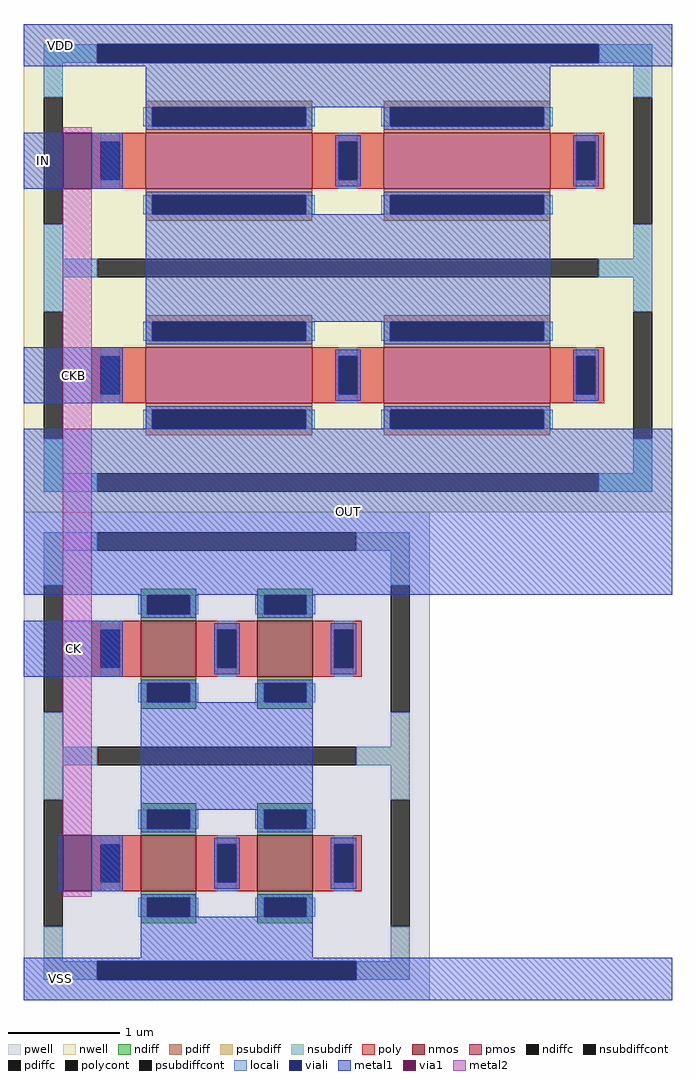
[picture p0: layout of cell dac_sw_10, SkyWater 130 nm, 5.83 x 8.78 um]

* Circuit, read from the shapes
.subckt dac_sw_10 VDD IN CKB CK VSS OUT
XM1 n1 IN VSS VSS sky130_fd_pr__nfet_01v8 w=0.5 l=0.5 m=2
XM2 OUT CK n1 VSS sky130_fd_pr__nfet_01v8 w=0.5 l=0.5 m=2
XM3 n2 CKB OUT VDD sky130_fd_pr__pfet_01v8 w=1.5 l=0.5 m=2
XM4 VDD IN n2 VDD sky130_fd_pr__pfet_01v8 w=1.5 l=0.5 m=2
.ends

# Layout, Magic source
magic
tech sky130A
magscale 1 2
<< viali >>
rect 238 1527 1140 1561
rect 238 -123 704 -89
<< metal1 >>
rect 106 1561 1272 1597
rect 106 1527 238 1561
rect 1140 1527 1272 1561
rect 106 1521 1272 1527
rect 325 1447 1053 1521
rect 106 1301 176 1401
rect 228 1301 284 1401
rect 325 1061 1053 1255
rect 106 915 284 1015
rect 106 570 1272 869
rect 106 423 284 523
rect 316 183 626 377
rect 166 37 176 137
rect 228 37 284 137
rect 316 -83 626 -9
rect 106 -89 1272 -83
rect 106 -123 238 -89
rect 704 -123 1272 -89
rect 106 -159 1272 -123
<< via1 >>
rect 176 1301 228 1401
rect 176 37 228 137
<< metal2 >>
rect 176 1401 228 1411
rect 176 137 228 1301
rect 176 27 228 37
use sky130_fd_pr__nfet_01v8_RXFLWN  sky130_fd_pr__nfet_01v8_RXFLWN_0
transform 0 1 471 -1 0 87
box -246 -365 246 365
use sky130_fd_pr__pfet_01v8_NMYYUH  sky130_fd_pr__pfet_01v8_NMYYUH_0
transform 0 1 689 -1 0 965
box -246 -583 246 583
use sky130_fd_pr__pfet_01v8_NMYYUH  XM1
transform 0 1 689 -1 0 1351
box -246 -583 246 583
use sky130_fd_pr__nfet_01v8_RXFLWN  XM3
transform 0 1 471 -1 0 473
box -246 -365 246 365
<< labels >>
flabel metal1 106 1521 238 1597 0 FreeSans 400 0 0 0 VDD
port 0 nsew
flabel metal1 106 1301 176 1401 0 FreeSans 400 0 0 0 IN
port 1 nsew
flabel metal1 106 915 284 1015 0 FreeSans 400 0 0 0 CKB
port 2 nsew
flabel metal1 106 423 284 523 0 FreeSans 400 0 0 0 CK
port 3 nsew
flabel metal1 106 -159 238 -83 0 FreeSans 400 0 0 0 VSS
port 4 nsew
flabel metal1 106 570 1272 869 0 FreeSans 400 0 0 0 OUT
port 6 nsew
<< end >>

# cell sky130_fd_pr__nfet_01v8_RXFLWN: kit device sky130_fd_pr__nfet_01v8, w 0.5 l 0.5 m 2 nf 1 diffcov 100 polycov 100 guard 1 glc 1 grc 1 gtc 1 gbc 1 tbcov 100 rlcov 100 topc 1 botc 1 poverlap 1 doverlap 0 lmin 0.15 wmin 0.42 compatible {sky130_fd_pr__nfet_01v8 sky130_fd_pr__nfet_01v8_lvt sky130_fd_bs_flash__special_sonosfet_star sky130_fd_pr__nfet_g5v0d10v5 sky130_fd_pr__nfet_05v0_nvt sky130_fd_pr__nfet_03v3_nvt} full_metal 1 viasrc 100 viadrn 100 viagate 100 viagb 0 viagr 0 viagl 0 viagt 0

# cell sky130_fd_pr__pfet_01v8_NMYYUH: kit device sky130_fd_pr__pfet_01v8, w 1.5 l 0.5 m 2 nf 1 diffcov 100 polycov 100 guard 1 glc 1 grc 1 gtc 1 gbc 1 tbcov 100 rlcov 100 topc 1 botc 1 poverlap 1 doverlap 0 lmin 0.15 wmin 0.42 compatible {sky130_fd_pr__pfet_01v8 sky130_fd_pr__pfet_01v8_lvt sky130_fd_pr__pfet_01v8_hvt sky130_fd_pr__pfet_g5v0d10v5} full_metal 1 viasrc 100 viadrn 100 viagate 100 viagb 0 viagr 0 viagl 0 viagt 0
